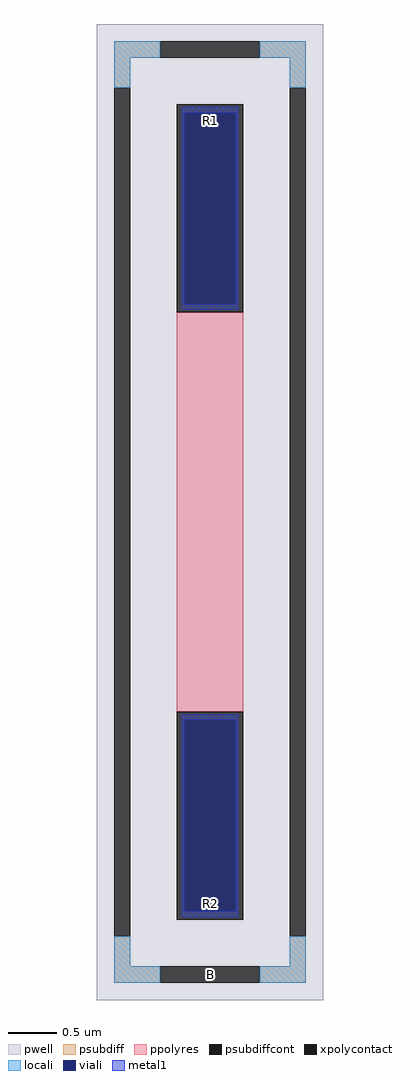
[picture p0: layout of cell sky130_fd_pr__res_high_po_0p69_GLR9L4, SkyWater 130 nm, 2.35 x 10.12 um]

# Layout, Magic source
magic
tech sky130A
magscale 1 2
<< pwell >>
rect -235 -1012 235 1012
<< psubdiff >>
rect -199 942 -103 976
rect 103 942 199 976
rect -199 880 -165 942
rect 165 880 199 942
rect -199 -942 -165 -880
rect 165 -942 199 -880
rect -199 -976 -103 -942
rect 103 -976 199 -942
<< psubdiffcont >>
rect -103 942 103 976
rect -199 -880 -165 880
rect 165 -880 199 880
rect -103 -976 103 -942
<< xpolycontact >>
rect -69 414 69 846
rect -69 -846 69 -414
<< ppolyres >>
rect -69 -414 69 414
<< locali >>
rect -199 942 -103 976
rect 103 942 199 976
rect -199 880 -165 942
rect 165 880 199 942
rect -199 -942 -165 -880
rect 165 -942 199 -880
rect -199 -976 -103 -942
rect 103 -976 199 -942
<< viali >>
rect -53 431 53 828
rect -53 -828 53 -431
<< metal1 >>
rect -59 828 59 840
rect -59 431 -53 828
rect 53 431 59 828
rect -59 419 59 431
rect -59 -431 59 -419
rect -59 -828 -53 -431
rect 53 -828 59 -431
rect -59 -840 59 -828
<< labels >>
rlabel psubdiffcont 0 -959 0 -959 0 B
port 4 nsew
rlabel xpolycontact 0 811 0 811 0 R1
port 5 nsew
rlabel xpolycontact 0 -811 0 -811 0 R2
port 6 nsew
<< properties >>
string FIXED_BBOX -182 -959 182 959
string gencell sky130_fd_pr__res_high_po_0p69
string library sky130
string parameters w 0.690 l 4.3 m 1 nx 1 wmin 0.690 lmin 0.50 class resistor rho 319.8 val 2.557k dummy 0 dw 0.0 term 194.82 sterm 0.0 caplen 0 guard 1 glc 1 grc 1 gtc 1 gbc 1 compatible {sky130_fd_pr__res_high_po_0p35  sky130_fd_pr__res_high_po_0p69 sky130_fd_pr__res_high_po_1p41  sky130_fd_pr__res_high_po_2p85 sky130_fd_pr__res_high_po_5p73} snake 0 full_metal 1 wmax 0.690 n_guard 0 hv_guard 0 vias 1 viagb 0 viagt 0 viagl 0 viagr 0 doports 1 mult 1
<< end >>
